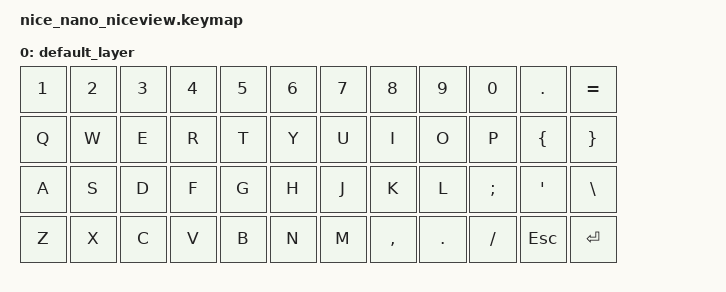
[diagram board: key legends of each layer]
/*
 * Copyright (c) 2020 The ZMK Contributors
 *
 * SPDX-License-Identifier: MIT
 */

#include <behaviors.dtsi>
#include <dt-bindings/zmk/keys.h>
#include <dt-bindings/zmk/bt.h>
#include <dt-bindings/zmk/rgb.h>
#include <dt-bindings/zmk/ext_power.h>
#include <dt-bindings/zmk/matrix-transform.h>

/ {
    chosen {
        zmk,matrix_transform = &default_transform;
    };

    default_transform: keymap_transform_0 {
        compatible = "zmk,matrix-transform";
        columns = <12>;
        rows = <4>;
        map = <
            RC(0,0) RC(0,1) RC(0,2) RC(0,3) RC(0,4) RC(0,5) RC(0,6) RC(0,7) RC(0,8) RC(0,9) RC(0,10) RC(0,11)
            RC(1,0) RC(1,1) RC(1,2) RC(1,3) RC(1,4) RC(1,5) RC(1,6) RC(1,7) RC(1,8) RC(1,9) RC(1,10) RC(1,11)
            RC(2,0) RC(2,1) RC(2,2) RC(2,3) RC(2,4) RC(2,5) RC(2,6) RC(2,7) RC(2,8) RC(2,9) RC(2,10) RC(2,11)
            RC(3,0) RC(3,1) RC(3,2) RC(3,3) RC(3,4) RC(3,5) RC(3,6) RC(3,7) RC(3,8) RC(3,9) RC(3,10) RC(3,11)
        >;
    };

    keymap {
        compatible = "zmk,keymap";

        default_layer {
            bindings = <
                &kp NUM_1 &kp NUM_2 &kp NUM_3 &kp NUM_4 &kp NUM_5 &kp NUM_6 &kp NUM_7 &kp NUM_8 &kp NUM_9 &kp NUM_0 &kp DOT &kp EQUAL
                &kp Q &kp W &kp E &kp R &kp T &kp Y &kp U &kp I &kp O &kp P &kp LBRC &kp RBRC
                &kp A &kp S &kp D &kp F &kp G &kp H &kp J &kp K &kp L &kp SEMI &kp SQT &kp BSLH
                &kp Z &kp X &kp C &kp V &kp B &kp N &kp M &kp COMMA &kp DOT &kp FSLH &kp ESC &kp ENTER
            >;
        };
    };
}; 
